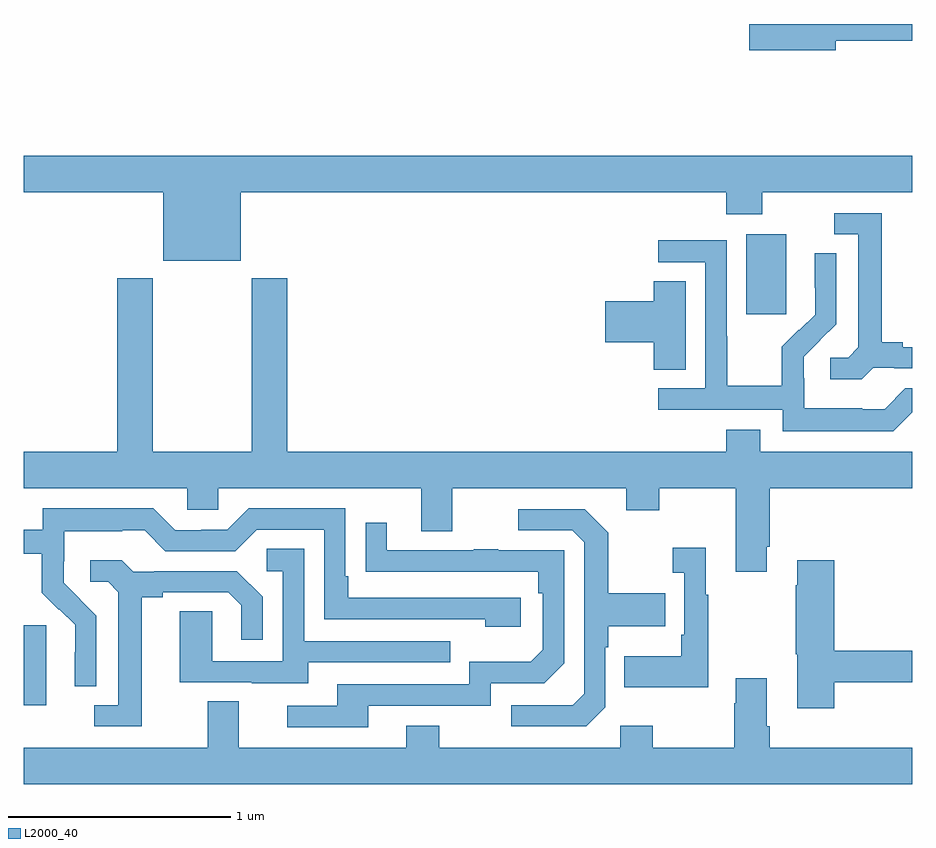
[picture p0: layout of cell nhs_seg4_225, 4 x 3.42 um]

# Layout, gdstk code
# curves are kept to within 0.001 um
import gdstk
lib = gdstk.Library(unit=1e-6, precision=1e-09)
def R(c, l, rs):  # rectangles x0, y0, x1, y1
    for r in rs: c.add(gdstk.rectangle(r[:2], r[2:], *l))
def P(c, l, *ps):  # polygons
    for p in ps: c.add(gdstk.Polygon(p, *l))
L2000_40 = (2000, 40)

nhs_seg4_225 = lib.new_cell('nhs_seg4_225')
R(nhs_seg4_225, L2000_40, [(121,803.834,121.102,804.195), (124.253,805.593,124.432,805.954)])
P(nhs_seg4_225, L2000_40, [(124.654,806.824),(125,806.824),(125,806.9),(124.266,806.9),(124.266,806.782),(124.654,806.782)],
  [(121.978,806.144),(124.163,806.144),(124.163,806.045),(124.323,806.045),(124.323,806.144),(125,806.144),(125,806.308),(121,806.308),(121,806.144),(121.628,806.144),(121.628,805.835),(121.978,805.835)],
  [(124.824,805.353),(124.918,805.353),(124.918,805.35),(125,805.35),(125,805.446),(124.957,805.446),(124.957,805.469),(124.861,805.469),(124.861,806.049),(124.647,806.049),(124.647,805.953),(124.757,805.953),(124.757,805.445),(124.71,805.398),(124.629,805.398),(124.629,805.301),(124.772,805.301)],
  [(125,805.154),(125,805.26),(124.968,805.26),(124.875,805.167),(124.775,805.167),(124.775,805.171),(124.512,805.171),(124.512,805.305),(124.51,805.305),(124.51,805.402),(124.656,805.55),(124.656,805.868),(124.56,805.868),(124.56,805.714),(124.562,805.714),(124.562,805.592),(124.491,805.521),(124.488,805.524),(124.411,805.447),(124.411,805.273),(124.167,805.273),(124.167,805.496),(124.164,805.496),(124.164,805.926),(123.855,805.926),(123.855,805.827),(124.068,805.827),(124.068,805.26),(123.855,805.26),(123.855,805.164),(124.416,805.164),(124.416,805.067),(124.913,805.067)],
  [(124.345,804.547),(124.358,804.547),(124.358,804.812),(125,804.812),(125,804.976),(124.315,804.976),(124.315,805.075),(124.163,805.075),(124.163,804.976),(122.186,804.976),(122.186,805.756),(122.026,805.756),(122.026,804.976),(121.581,804.976),(121.581,805.756),(121.421,805.756),(121.421,804.976),(121,804.976),(121,804.812),(121.737,804.812),(121.737,804.714),(121.875,804.714),(121.875,804.812),(122.789,804.812),(122.789,804.618),(122.929,804.618),(122.929,804.812),(123.713,804.812),(123.713,804.713),(123.861,804.713),(123.861,804.812),(124.205,804.812),(124.205,804.435),(124.345,804.435)],
  [(123.979,805.742),(123.836,805.742),(123.836,805.652),(123.618,805.652),(123.618,805.469),(123.836,805.469),(123.836,805.345),(123.979,805.345)],
  [(121.326,804.238),(121.18,804.386),(121.18,804.483),(121.182,804.483),(121.182,804.617),(121.445,804.617),(121.445,804.621),(121.545,804.621),(121.638,804.528),(121.953,804.528),(122.049,804.624),(122.352,804.624),(122.352,804.222),(123.077,804.222),(123.077,804.188),(123.238,804.188),(123.238,804.318),(122.461,804.318),(122.461,804.415),(122.448,804.415),(122.448,804.72),(122.013,804.72),(121.917,804.624),(121.799,804.624),(121.799,804.621),(121.683,804.621),(121.583,804.721),(121.086,804.721),(121.086,804.624),(121,804.624),(121,804.516),(121.081,804.516),(121.081,804.341),(121.158,804.264),(121.161,804.267),(121.232,804.197),(121.232,804.074),(121.23,804.074),(121.23,803.92),(121.326,803.92)],
  [(123.618,803.826),(123.618,804.095),(123.631,804.095),(123.631,804.191),(123.887,804.191),(123.887,804.339),(123.631,804.339),(123.631,804.611),(123.525,804.717),(123.225,804.717),(123.225,804.621),(123.468,804.621),(123.522,804.567),(123.522,803.886),(123.471,803.835),(123.195,803.835),(123.195,803.739),(123.531,803.739)],
  [(122.551,803.832),(123.102,803.832),(123.102,803.934),(123.342,803.934),(123.432,804.024),(123.432,804.531),(123.137,804.531),(123.137,804.536),(123.025,804.536),(123.025,804.531),(122.635,804.531),(122.635,804.655),(122.539,804.655),(122.539,804.436),(123.316,804.435),(123.316,804.338),(123.336,804.338),(123.336,804.084),(123.283,804.031),(123.006,804.031),(123.006,803.928),(122.411,803.928),(122.411,803.832),(122.187,803.832),(122.187,803.736),(122.551,803.736)],
  [(124.081,804.331),(124.069,804.331),(124.069,804.544),(123.921,804.544),(123.921,804.431),(123.972,804.431),(123.972,804.151),(123.96,804.151),(123.96,804.055),(123.703,804.055),(123.703,803.915),(124.081,803.915)],
  [(122.281,804.027),(122.921,804.027),(122.921,804.123),(122.262,804.123),(122.262,804.539),(122.094,804.539),(122.094,804.438),(122.166,804.438),(122.166,804.033),(121.848,804.033),(121.848,804.257),(121.703,804.257),(121.703,803.937),(122.027,803.937),(122.027,803.933),(122.281,803.933)],
  [(121.531,804.32),(121.627,804.32),(121.627,804.342),(121.922,804.342),(121.979,804.285),(121.979,804.129),(122.076,804.129),(122.076,804.322),(121.96,804.438),(121.588,804.438),(121.588,804.435),(121.494,804.435),(121.442,804.487),(121.299,804.487),(121.299,804.39),(121.38,804.39),(121.427,804.343),(121.427,803.835),(121.317,803.835),(121.317,803.739),(121.531,803.739)],
  [(124.649,803.938),(125,803.938),(125,804.08),(124.649,804.08),(124.649,804.487),(124.481,804.487),(124.481,804.374),(124.474,804.374),(124.474,804.063),(124.481,804.063),(124.481,803.82),(124.649,803.82)],
  [(125,803.644),(124.358,803.644),(124.358,803.74),(124.345,803.74),(124.345,803.956),(124.205,803.956),(124.205,803.843),(124.198,803.843),(124.198,803.644),(123.831,803.644),(123.831,803.743),(123.684,803.743),(123.684,803.644),(122.871,803.644),(122.871,803.743),(122.723,803.743),(122.723,803.644),(121.969,803.644),(121.969,803.852),(121.829,803.852),(121.829,803.644),(121,803.644),(121,803.48),(125,803.48)])

lib.write_gds('nhs_seg4_225.gds')
